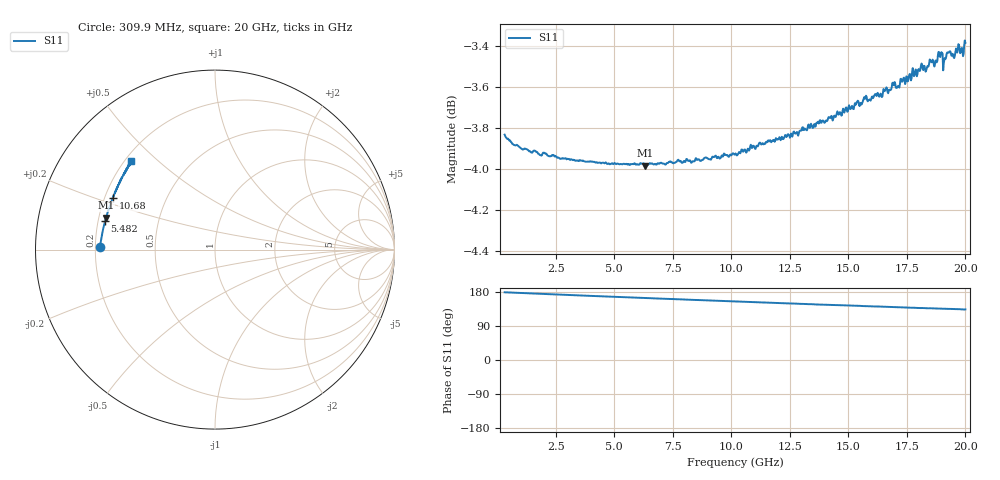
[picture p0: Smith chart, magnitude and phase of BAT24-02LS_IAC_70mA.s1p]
! Infineon Technologies  Discrete & RF Semiconductors
! BAT24-02LS
! IAC = 70 mA
! One-Port S-Parameters
# Hz  S  MA  R  50
!f  S11
!Hz  Mag  Ang
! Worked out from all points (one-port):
!   789 points, 309.9 MHz to 20 GHz, reference 50 ohm
!   lowest |S11| = -4.0 dB at 6.307 GHz (marker M1), VSWR 4.44, Z = 11.5 + j6.83 ohm
!   |S11| at or under -10 dB: nowhere
!   S11 on the Smith chart (normalised r, x): 309.9 MHz: 0.22, +0.01; 5.482 GHz: 0.23, +0.12; 10.68 GHz: 0.23, +0.23; 20 GHz: 0.23, +0.41
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3.0985e8  0.6432 178.7
2.783612e9  0.6348 172.3
5.232388e9  0.6326 166.1
5.482262e9  0.6327 165.6
6.30685e9  0.6322 163.6
7.70615e9  0.6341 160.3
1.015492e10  0.6361 154.5
1.067966e10  0.6377 153.3
1.262869e10  0.6433 148.8
1.370315e10  0.6479 146.5
1.507746e10  0.6524 143.8
1.657671e10  0.6595 140.4
1.677661e10  0.6594 139.9
1.695152e10  0.6613 139.7
1.715142e10  0.6609 139.0
1.732634e10  0.663 138.7
1.755122e10  0.6628 138.2
1.82009e10  0.6669 137.0
1.837581e10  0.6683 136.6
1.855072e10  0.6698 136.4
1.875062e10  0.6704 135.9
1.895052e10  0.6729 135.6
1.912544e10  0.6714 135.2
1.932534e10  0.6739 134.9
1.950025e10  0.6715 134.4
1.967516e10  0.6746 134.0
1.982509e10  0.6747 133.7
2e10  0.6771 133.5
